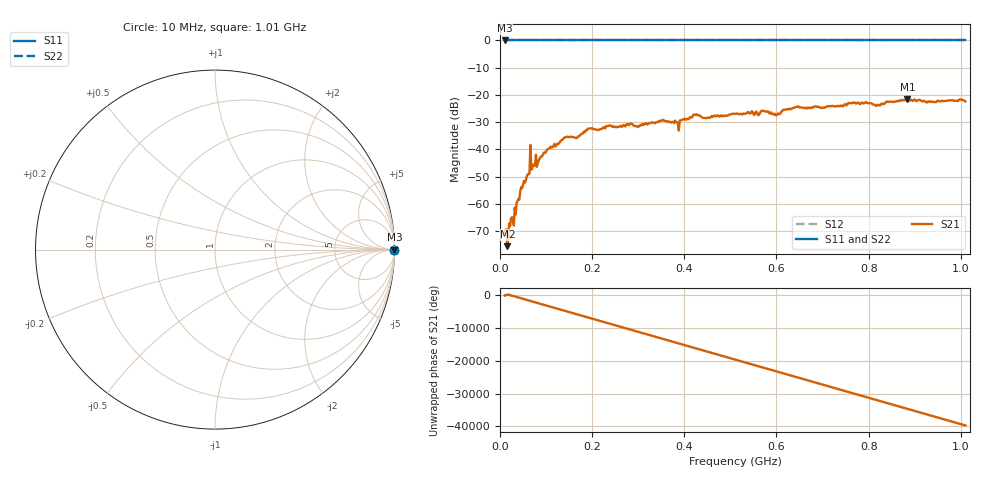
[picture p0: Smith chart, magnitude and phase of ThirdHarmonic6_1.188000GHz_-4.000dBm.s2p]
! 8/16/2025 12:11:09 PM
! C:\ANRITSUVNA\TEMP\TEMP.S2P
! CHANNEL.1
! TR.MEASUREMENT
! RAW.DATA
! RF.CORRECTION.OFF
! AVERAGING.OFF
! IF.BANDWIDTH: 5KHZ
! SWEEPTYPE:  FREQ.SWEEP(Linear)
! Reference Plane Port Info
! PORT:  PORT1  PORT2
! DISTANCE:  0  m  0  m
! TIME:  0  s  0  s
! PHASE.OFFSET:  0  deg.  0  deg.
! LOSS:  0  dB  0  dB
! REF.LOSS:  0  dB  0  dB
! REF.FREQ:  0  Hz  0  Hz
! Power Info
! POWER:  -20  dBm  -20  dBm
! EFF.POWER:  -20  dBm  -20  dBm
! SOURCE.ATTEN:  0  dB  0  dB
! TEST.ATTEN:  0  dB  0  dB
# GHZ S RI R 50.0
! FREQ.GHZ  S11RE  S11IM  S21RE  S21IM  S12RE  S12IM  S22RE  S22IM
!; PortSelection: Port_12
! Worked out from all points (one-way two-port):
!   501 points, 10 MHz to 1.01 GHz, reference 50 ohm
!   highest |S21| = -21.62 dB at 884 MHz (marker M1); lowest = -75.6 dB at 16 MHz (marker M2)
!   lowest |S11| = 0.0 dB at 10 MHz (marker M3)
!   |S11| at or under -10 dB: nowhere
!   |S22| runs from 0.0 to 0.0 dB; largest |S21 - S12| = 1.1
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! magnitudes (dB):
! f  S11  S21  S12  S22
! 10 MHz  0.0  -70.7  0.0  0.0
! 16 MHz  0.0  -75.6  0.0  0.0
! 32 MHz  0.0  -61.4  0.0  0.0
! 48 MHz  0.0  -54.3  0.0  0.0
! 70 MHz  0.0  -47.0  0.0  0.0
! 72 MHz  0.0  -45.6  0.0  0.0
! 106 MHz  0.0  -39.7  0.0  0.0
! 142 MHz  0.0  -35.5  0.0  0.0
! 178 MHz  0.0  -34.2  0.0  0.0
! 196 MHz  0.0  -32.3  0.0  0.0
! 344 MHz  0.0  -30.0  0.0  0.0
! 386 MHz  0.0  -30.2  0.0  0.0
! 424 MHz  0.0  -27.3  0.0  0.0
! 444 MHz  0.0  -28.4  0.0  0.0
! 510 MHz  0.0  -26.9  0.0  0.0
! 572 MHz  0.0  -25.9  0.0  0.0
! 602 MHz  0.0  -27.1  0.0  0.0
! 644 MHz  0.0  -24.4  0.0  0.0
! 678 MHz  0.0  -24.7  0.0  0.0
! 844 MHz  0.0  -22.6  0.0  0.0
! 884 MHz  0.0  -21.6  0.0  0.0
! 1.01 GHz  0.0  -22.4  0.0  0.0
